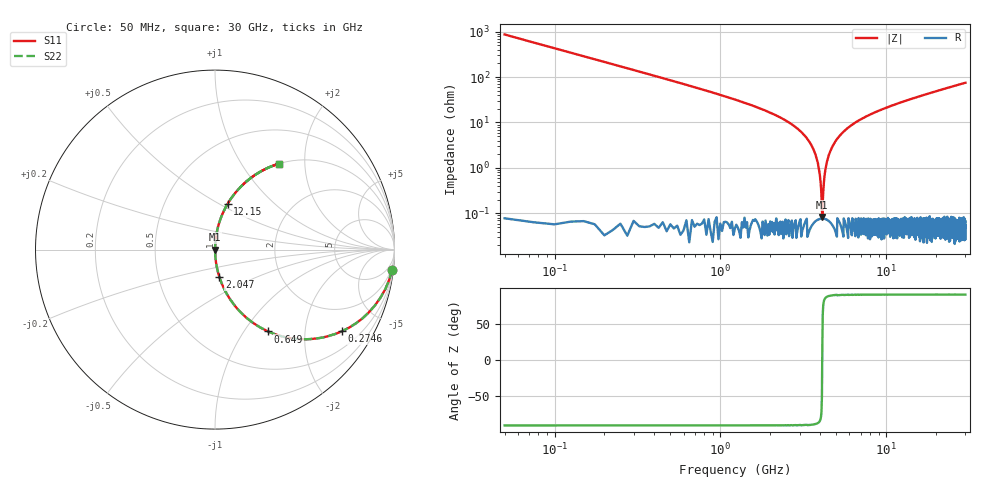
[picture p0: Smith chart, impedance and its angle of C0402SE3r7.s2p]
!	AVX Thin Film Operation 	Date: April 2014
!	Description: Accu-P® Series, Thin Film  SMD RF Capacitor
!	Part Number: 04025J3R7ABSTR
# MHZ S MA R 50
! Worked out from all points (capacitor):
!   1201 points, 50 MHz to 30 GHz, reference 50 ohm
!   read as one part in series: C = 3.7 pF near 199.8 MHz
!   lowest |Z| = 83.2 mohm at 4.118 GHz (marker M1)
!   series resonance near 4.112 GHz, so ESL is about 410 pH
!   S11 on the Smith chart (normalised r, x): 50 MHz: 1, -17; 274.6 MHz: 1.00, -3.12; 649 MHz: 1.00, -1.29; 2.047 GHz: 1.00, -0.32; 12.15 GHz: 1.00, +0.55; 30 GHz: 1.00, +1.50
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50  0.993 -6.6  0.115 83.4  0.115 83.4  0.993 -6.6
274.625  0.842 -32.7  0.54 57.3  0.54 57.3  0.842 -32.7
649  0.543 -57.1  0.84 32.9  0.84 32.9  0.543 -57.1
1148.167  0.326 -70.9  0.945 19.0  0.945 19.0  0.326 -70.9
2046.667  0.156 -80.8  0.987 9.0  0.987 9.0  0.156 -80.8
2995.083  0.067 -85.7  0.997 3.9  0.997 3.9  0.067 -85.7
3519.208  0.033 -87.2  0.999 1.9  0.999 1.9  0.033 -87.2
3818.708  0.015 -87.1  0.999 0.9  0.999 0.9  0.015 -87.1
3893.583  0.011 -86.6  0.999 0.7  0.999 0.7  0.011 -86.6
3993.417  0.006146 -84.6  0.999 0.4  0.999 0.4  0.006146 -84.6
4118.208  0.0006239 30.1  0.999 -0.0  0.999 -0.0  0.0006239 30.1
4218.042  0.005349 83.9  0.999 -0.3  0.999 -0.3  0.005349 83.9
4342.833  0.011 86.6  0.999 -0.7  0.999 -0.7  0.011 86.6
4517.542  0.02 87.3  0.999 -1.1  0.999 -1.1  0.02 87.3
5041.667  0.043 86.8  0.999 -2.5  0.999 -2.5  0.043 86.8
6813.708  0.109 83.4  0.993 -6.3  0.993 -6.3  0.109 83.4
10058.29  0.208 77.8  0.978 -12.0  0.978 -12.0  0.208 77.8
12154.79  0.264 74.6  0.964 -15.3  0.964 -15.3  0.264 74.6
15025  0.333 70.4  0.942 -19.5  0.942 -19.5  0.333 70.4
20016.67  0.438 63.9  0.898 -26.0  0.898 -26.0  0.438 63.9
25033.29  0.527 58.2  0.85 -31.8  0.85 -31.8  0.527 58.2
30000  0.599 53.1  0.8 -36.8  0.8 -36.8  0.599 53.1
